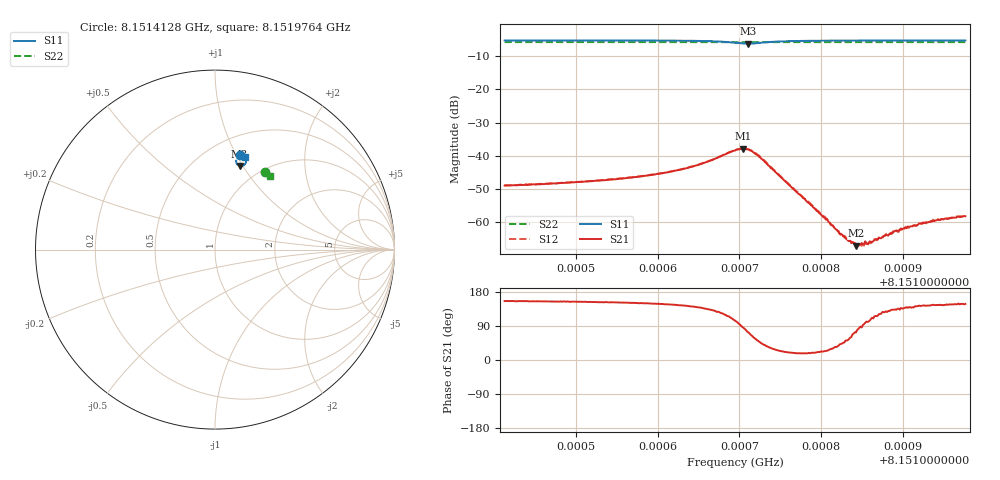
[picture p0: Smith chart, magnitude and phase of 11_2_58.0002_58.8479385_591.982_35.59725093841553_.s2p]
#  HZ  S  RI  R  50.00
! Rohde & Schwarz Vector Network Analyzer
! Rohde-Schwarz,ZNB20-2Port,1311601062101988,3.16
! Created: UTC 3/21/2024, 12:50:47 AM
! freq[Hz]  re:S11  im:S11  re:S21  im:S21  re:S12  im:S12  re:S22  im:S22
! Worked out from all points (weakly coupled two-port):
!   401 points, 8.1514128 GHz to 8.1519764 GHz, reference 50 ohm
!   highest |S21| = -37.90 dB at 8.1517045 GHz (marker M1); lowest = -67.1 dB at 8.1518425 GHz (marker M2)
!   lowest |S11| = -6.3 dB at 8.1517101 GHz (marker M3), VSWR 2.89, Z = 39.7 + j48.5 ohm
!   |S11| at or under -10 dB: nowhere
!   |S22| runs from -5.8 to -5.8 dB; largest |S21 - S12| = 0.00043
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8.15141282e9  0.1372 0.5264  -0.00323 0.00148  -0.00325 0.00151  0.2779 0.4325
8.15150721e9  0.1461 0.5238  -0.00363 0.0018  -0.00362 0.00187  0.2832 0.4291
8.15155934e9  0.1519 0.5216  -0.00402 0.00218  -0.004 0.00227  0.2859 0.427
8.15160161e9  0.1579 0.5184  -0.00454 0.00283  -0.00451 0.0029  0.2881 0.4253
8.15164951e9  0.1675 0.5095  -0.00551 0.00477  -0.00545 0.00486  0.2908 0.423
8.1516946e9  0.1652 0.4735  -0.00286 0.0116  -0.00289 0.0118  0.2924 0.4203
8.15170446e9  0.149 0.4652  0.000855 0.0127  0.000961 0.0128  0.2922 0.4198
8.15171009e9  0.1372 0.4661  0.00349 0.012  0.0033 0.0121  0.292 0.4198
8.15171714e9  0.1249 0.4738  0.00564 0.00972  0.00564 0.0101  0.292 0.4201
8.15172418e9  0.1186 0.4848  0.00641 0.00719  0.00669 0.00746  0.2924 0.4204
8.15178899e9  0.1392 0.5199  0.00166 0.000581  0.0017 0.000539  0.297 0.4191
8.15182422e9  0.1468 0.5211  0.000492 0.000447  0.000484 0.000424  0.2989 0.4177
8.15183408e9  0.1485 0.521  0.000293 0.000426  0.000294 0.000446  0.2996 0.4173
8.15184253e9  0.1497 0.521  0.000132 0.000423  0.000136 0.000437  0.2999 0.4168
8.15184676e9  0.1504 0.521  3.98e-05 0.000463  6.74e-05 0.000441  0.3003 0.4166
8.15185944e9  0.1522 0.5209  -0.000126 0.000497  -0.000115 0.000468  0.3009 0.4163
8.15186789e9  0.1533 0.5208  -0.000239 0.0005  -0.000236 0.000476  0.3015 0.4158
8.15188339e9  0.1552 0.5206  -0.000419 0.000514  -0.000379 0.000526  0.3023 0.4153
8.15189889e9  0.157 0.5202  -0.00056 0.000535  -0.000563 0.000554  0.303 0.4146
8.15192143e9  0.1594 0.5198  -0.000755 0.000582  -0.00076 0.000569  0.3041 0.4137
8.15193975e9  0.1612 0.5195  -0.000867 0.00061  -0.000864 0.000656  0.3053 0.4131
8.15197638e9  0.1645 0.5187  -0.00104 0.000649  -0.00106 0.000677  0.3071 0.4117
